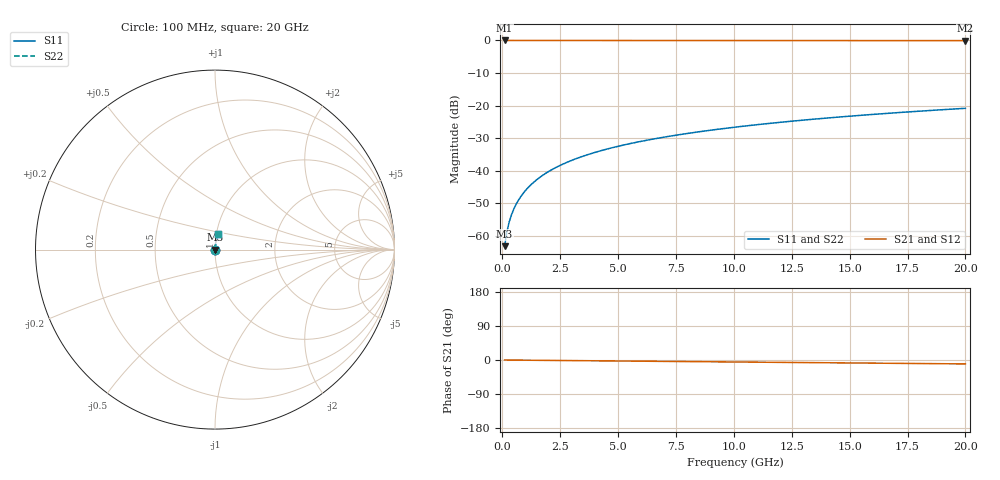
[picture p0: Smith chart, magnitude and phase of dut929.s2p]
! Touchstone file exported from HFSS 2026.1.0
!  File:  C:/ffzhzh/LocalFiles/Ansys_Project_Files/temp_train_BSMRDL_929_1783171866_22436.aedt
!  Generated:  09:32:13 PM Jul  4, 2026
!  Design:  BSMRDL
!  Project:  temp_train_BSMRDL_929_1783171866_22436
! Variables:
!  h_bsmrdl = 5.72um
!  h_ox = 20um
!  h_rdl = 5um
!  h_sub = 80um
!  h_tmrdl = 5um
!  h_tsv = 80um
!  h_via = 3um
!  l_bsmrdl = 124.82um
!  l_sub = 524.82um
!  l_tmrdl = 200um
!  m_sub = 200um
!  pitch = 50.82um
!  r_tsv = 6um
!  s_tmrdl = 10um
!  w_bsmrdl = 27.2um
!  w_sub = 500um
!  w_tmrdl = 12um
!  x_tsv_center1 = 206um
!  x_tsv_center2 = 358.02um
!  x_tsv_center3 = 570.02um
!  x_tsv_center4 = 722.04um
!  x_tsv_center5 = 934.04um
!  x_tsv_center6 = 1086.06um
# GHz S MA R 50.000000
! Terminal data exported
! Port[1] = BSM_RDL1_1_T1
! Port[2] = BSM_RDL1_1_T2
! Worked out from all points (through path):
!   200 points, 100 MHz to 20 GHz, reference 50 ohm
!   highest |S21| = 0.00 dB at 100 MHz (marker M1); lowest = -0.1 dB at 20 GHz (marker M2)
!   group delay of S21, straight-line fit = 1.43 ps
!   lowest |S11| = -63.2 dB at 100 MHz (marker M3), VSWR 1.00, Z = 50 + j0.0535 ohm
!   |S11| at or under -10 dB: start of sweep to end of sweep
!   |S22| runs from -63.2 to -20.9 dB; largest |S21 - S12| = 3.1e-15
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0.1  0.0006911 50.7  0.9996 -0.1  0.9996 -0.1  0.0006911 50.7
! Gamma 0 0 0 0
! Port Impedance 50 0 50 0
0.2  0.001154 65.9  0.9995 -0.1  0.9995 -0.1  0.001154 65.9
0.3  0.001635 71.8  0.9995 -0.2  0.9995 -0.2  0.001635 71.8
0.4  0.002111 74.9  0.9995 -0.2  0.9995 -0.2  0.002111 74.9
0.5  0.002584 77.0  0.9994 -0.3  0.9994 -0.3  0.002584 77.0
0.7  0.003526 79.7  0.9994 -0.4  0.9994 -0.4  0.003526 79.7
0.8  0.003997 80.6  0.9994 -0.4  0.9994 -0.4  0.003997 80.6
1  0.004943 81.9  0.9993 -0.5  0.9993 -0.5  0.004943 81.9
1.2  0.005891 82.7  0.9993 -0.6  0.9993 -0.6  0.005891 82.7
1.4  0.006841 83.3  0.9993 -0.7  0.9993 -0.7  0.006841 83.3
1.7  0.008265 83.9  0.9992 -0.9  0.9992 -0.9  0.008265 83.9
2  0.009687 84.2  0.9991 -1.1  0.9991 -1.1  0.009687 84.2
2.7  0.01299 84.6  0.999 -1.4  0.999 -1.4  0.01299 84.6
3.5  0.01673 84.6  0.9988 -1.9  0.9988 -1.9  0.01673 84.6
4.2  0.01998 84.4  0.9986 -2.2  0.9986 -2.2  0.01998 84.4
5  0.02366 84.2  0.9984 -2.6  0.9984 -2.6  0.02366 84.2
6.8  0.03186 83.6  0.9979 -3.6  0.9979 -3.6  0.03186 83.6
8.3  0.03864 83.1  0.9975 -4.3  0.9975 -4.3  0.03864 83.1
10.1  0.04675 82.4  0.997 -5.3  0.997 -5.3  0.04675 82.4
13.4  0.06152 81.0  0.9959 -7.0  0.9959 -7.0  0.06152 81.0
16.7  0.07617 79.5  0.9946 -8.6  0.9946 -8.6  0.07616 79.5
20  0.09065 77.9  0.9931 -10.3  0.9931 -10.3  0.09065 77.9
